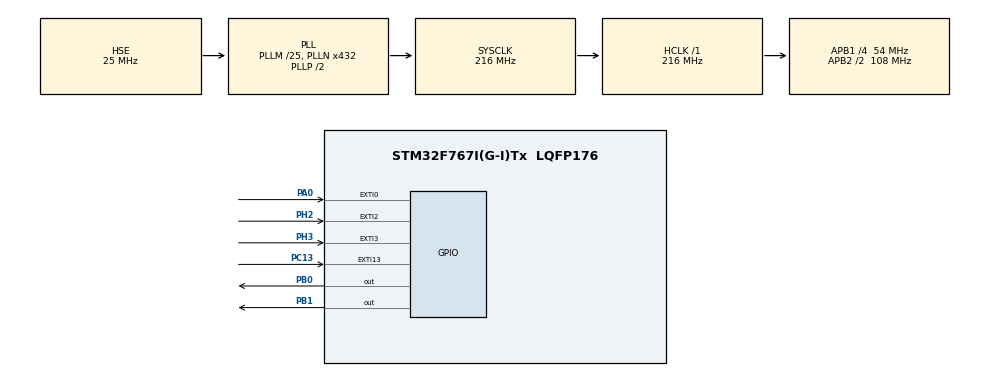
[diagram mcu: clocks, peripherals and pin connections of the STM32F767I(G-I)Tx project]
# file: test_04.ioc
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CORTEX_M7.default_mode_Activation=1
Mcu.Family=STM32F7
Mcu.Name=STM32F767I(G-I)Tx
Mcu.Package=LQFP176
NVIC.EXTI0_IRQn=true\:2\:0\:true\:false\:true\:true\:true\:true
NVIC.EXTI15_10_IRQn=true\:2\:3\:true\:false\:true\:true\:true\:true
NVIC.EXTI2_IRQn=true\:2\:1\:true\:false\:true\:true\:true\:true
NVIC.EXTI3_IRQn=true\:2\:2\:true\:false\:true\:true\:true\:true
NVIC.PriorityGroup=NVIC_PRIORITYGROUP_2
PA0/WKUP.GPIO_ModeDefaultEXTI=GPIO_MODE_IT_RISING
PA0/WKUP.GPIO_PuPd=GPIO_PULLDOWN
PA0/WKUP.Signal=GPXTI0
PB0.GPIO_ModeDefaultOutputPP=GPIO_MODE_OUTPUT_PP
PB0.GPIO_PuPd=GPIO_PULLUP
PB0.GPIO_Speed=GPIO_SPEED_FREQ_HIGH
PB0.PinState=GPIO_PIN_SET
PB0.Signal=GPIO_Output
PB1.GPIO_ModeDefaultOutputPP=GPIO_MODE_OUTPUT_PP
PB1.GPIO_PuPd=GPIO_PULLUP
PB1.GPIO_Speed=GPIO_SPEED_FREQ_HIGH
PB1.PinState=GPIO_PIN_SET
PB1.Signal=GPIO_Output
PC13.GPIO_ModeDefaultEXTI=GPIO_MODE_IT_FALLING
PC13.GPIO_PuPd=GPIO_PULLUP
PC13.Signal=GPXTI13
PH0/OSC_IN.Mode=HSE-External-Oscillator
PH0/OSC_IN.Signal=RCC_OSC_IN
PH1/OSC_OUT.Mode=HSE-External-Oscillator
PH1/OSC_OUT.Signal=RCC_OSC_OUT
PH2.GPIO_ModeDefaultEXTI=GPIO_MODE_IT_FALLING
PH2.GPIO_PuPd=GPIO_PULLUP
PH2.Signal=GPXTI2
PH3.GPIO_ModeDefaultEXTI=GPIO_MODE_IT_FALLING
PH3.GPIO_PuPd=GPIO_PULLUP
PH3.Signal=GPXTI3
ProjectManager.HeapSize=0x200
ProjectManager.StackSize=0x400
ProjectManager.TargetToolchain=MDK-ARM V5.32
RCC.AHBFreq_Value=216000000
RCC.APB1CLKDivider=RCC_HCLK_DIV4
RCC.APB1Freq_Value=54000000
RCC.APB1TimFreq_Value=108000000
RCC.APB2CLKDivider=RCC_HCLK_DIV2
RCC.APB2Freq_Value=108000000
RCC.APB2TimFreq_Value=216000000
RCC.CortexFreq_Value=216000000
RCC.HCLKFreq_Value=216000000
RCC.HSE_VALUE=25000000
RCC.HSI_VALUE=16000000
RCC.LSE_VALUE=32768
RCC.PLLM=25
RCC.PLLN=432
RCC.PLLSourceVirtual=RCC_PLLSOURCE_HSE
RCC.SYSCLKFreq_VALUE=216000000
RCC.SYSCLKSource=RCC_SYSCLKSOURCE_PLLCLK
RCC.USBFreq_Value=216000000
RCC.VCOOutputFreq_Value=432000000
board=custom

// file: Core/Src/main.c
/* USER CODE BEGIN Header */
/**
  ******************************************************************************
  * @file           : main.c
  * @brief          : Main program body
  ******************************************************************************
  * @attention
  *
  * Copyright (c) 2022 STMicroelectronics.
  * All rights reserved.
  *
  * This software is licensed under terms that can be found in the LICENSE file
  * in the root directory of this software component.
  * If no LICENSE file comes with this software, it is provided AS-IS.
  *
  ******************************************************************************
  */
/* USER CODE END Header */
#include "main.h"
#include "gpio.h"

/* USER CODE BEGIN PD */
#define KEY0        HAL_GPIO_ReadPin(GPIOH,GPIO_PIN_3)  //KEY0按键PH3
#define KEY1        HAL_GPIO_ReadPin(GPIOH,GPIO_PIN_2)  //KEY1按键PH2
#define KEY2        HAL_GPIO_ReadPin(GPIOC,GPIO_PIN_13) //KEY2按键PC13
#define WK_UP       HAL_GPIO_ReadPin(GPIOA,GPIO_PIN_0)  //WKUP按键PA0

//LED端口定义
#define LED0(n)		(n?HAL_GPIO_WritePin(GPIOB,GPIO_PIN_1,GPIO_PIN_SET):HAL_GPIO_WritePin(GPIOB,GPIO_PIN_1,GPIO_PIN_RESET))
#define LED1(n)		(n?HAL_GPIO_WritePin(GPIOB,GPIO_PIN_0,GPIO_PIN_SET):HAL_GPIO_WritePin(GPIOB,GPIO_PIN_0,GPIO_PIN_RESET))
/* USER CODE END PD */

void SystemClock_Config(void);
static void MPU_Config(void);

int main(void)
{

  /* MPU Configuration--------------------------------------------------------*/
  MPU_Config();

  /* MCU Configuration--------------------------------------------------------*/

  /* Reset of all peripherals, Initializes the Flash interface and the Systick. */
  HAL_Init();

  /* Configure the system clock */
  SystemClock_Config();

  /* Initialize all configured peripherals */
  MX_GPIO_Init();

  /* Infinite loop */
  while (1)
  {

  }
}

void SystemClock_Config(void)
{
  RCC_OscInitTypeDef RCC_OscInitStruct = {0};
  RCC_ClkInitTypeDef RCC_ClkInitStruct = {0};

  /** Configure the main internal regulator output voltage
  */
  __HAL_RCC_PWR_CLK_ENABLE();
  __HAL_PWR_VOLTAGESCALING_CONFIG(PWR_REGULATOR_VOLTAGE_SCALE1);

  /** Initializes the RCC Oscillators according to the specified parameters
  * in the RCC_OscInitTypeDef structure.
  */
  RCC_OscInitStruct.OscillatorType = RCC_OSCILLATORTYPE_HSE;
  RCC_OscInitStruct.HSEState = RCC_HSE_ON;
  RCC_OscInitStruct.PLL.PLLState = RCC_PLL_ON;
  RCC_OscInitStruct.PLL.PLLSource = RCC_PLLSOURCE_HSE;
  RCC_OscInitStruct.PLL.PLLM = 25;
  RCC_OscInitStruct.PLL.PLLN = 432;
  RCC_OscInitStruct.PLL.PLLP = RCC_PLLP_DIV2;
  RCC_OscInitStruct.PLL.PLLQ = 2;
  RCC_OscInitStruct.PLL.PLLR = 2;
  if (HAL_RCC_OscConfig(&RCC_OscInitStruct) != HAL_OK)
  {
    Error_Handler();
  }

  /** Activate the Over-Drive mode
  */
  if (HAL_PWREx_EnableOverDrive() != HAL_OK)
  {
    Error_Handler();
  }

  /** Initializes the CPU, AHB and APB buses clocks
  */
  RCC_ClkInitStruct.ClockType = RCC_CLOCKTYPE_HCLK|RCC_CLOCKTYPE_SYSCLK
                              |RCC_CLOCKTYPE_PCLK1|RCC_CLOCKTYPE_PCLK2;
  RCC_ClkInitStruct.SYSCLKSource = RCC_SYSCLKSOURCE_PLLCLK;
  RCC_ClkInitStruct.AHBCLKDivider = RCC_SYSCLK_DIV1;
  RCC_ClkInitStruct.APB1CLKDivider = RCC_HCLK_DIV4;
  RCC_ClkInitStruct.APB2CLKDivider = RCC_HCLK_DIV2;

  if (HAL_RCC_ClockConfig(&RCC_ClkInitStruct, FLASH_LATENCY_7) != HAL_OK)
  {
    Error_Handler();
  }
}

/* USER CODE BEGIN 4 */
//中断服务程序
void HAL_GPIO_EXTI_Callback(uint16_t GPIO_Pin)
{
	static uint8_t led0sta=1, led1sta=1;
	HAL_Delay(50);		//消抖
	switch(GPIO_Pin)
	{
		case GPIO_PIN_0:
			if(WK_UP==1)	//LED0、LED1互斥
			{
				led1sta=!led1sta;
				led0sta=!led1sta;
				LED1(led1sta);
				LED0(led0sta);
			}
			break;
		case GPIO_PIN_2:
			if(KEY1==0)	//LED1
			{
				led1sta=!led1sta;
				LED1(led1sta);
			}
			break;
		case GPIO_PIN_3:
			if(KEY0==0)	//LED0、LED1同时
			{
				led1sta=!led1sta;
				led0sta=!led0sta;
				LED1(led1sta);
				LED0(led0sta);
			}
			break;
		case GPIO_PIN_13:
			if(KEY2==0)	//LED0
			{
				led0sta=!led1sta;
				LED0(led0sta);
			}
			break;
	}
}

/* USER CODE END 4 */

/* MPU Configuration */

void MPU_Config(void)
{
  MPU_Region_InitTypeDef MPU_InitStruct = {0};

  /* Disables the MPU */
  HAL_MPU_Disable();

  /** Initializes and configures the Region and the memory to be protected
  */
  MPU_InitStruct.Enable = MPU_REGION_ENABLE;
  MPU_InitStruct.Number = MPU_REGION_NUMBER0;
  MPU_InitStruct.BaseAddress = 0x0;
  MPU_InitStruct.Size = MPU_REGION_SIZE_4GB;
  MPU_InitStruct.SubRegionDisable = 0x87;
  MPU_InitStruct.TypeExtField = MPU_TEX_LEVEL0;
  MPU_InitStruct.AccessPermission = MPU_REGION_NO_ACCESS;
  MPU_InitStruct.DisableExec = MPU_INSTRUCTION_ACCESS_DISABLE;
  MPU_InitStruct.IsShareable = MPU_ACCESS_SHAREABLE;
  MPU_InitStruct.IsCacheable = MPU_ACCESS_NOT_CACHEABLE;
  MPU_InitStruct.IsBufferable = MPU_ACCESS_NOT_BUFFERABLE;

  HAL_MPU_ConfigRegion(&MPU_InitStruct);
  /* Enables the MPU */
  HAL_MPU_Enable(MPU_PRIVILEGED_DEFAULT);

}

void Error_Handler(void)
{
  __disable_irq();
  while (1)
  {
  }
}
